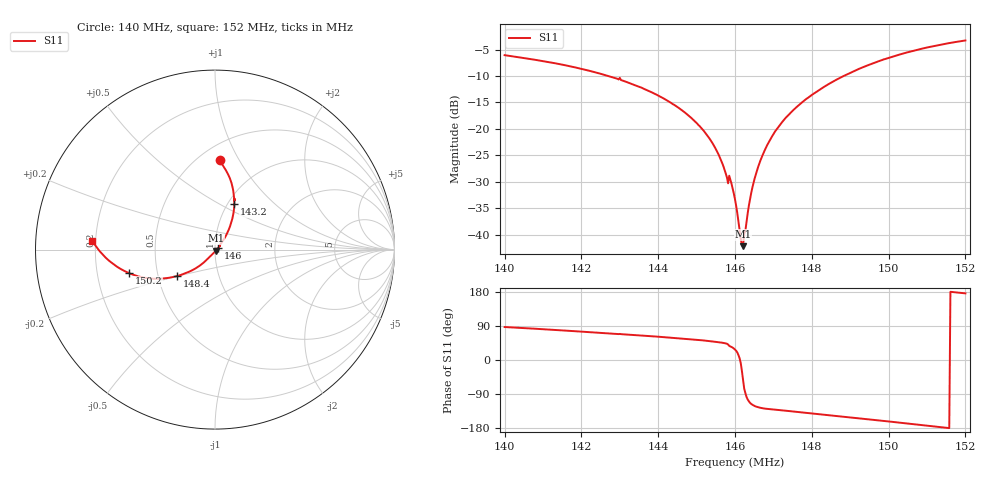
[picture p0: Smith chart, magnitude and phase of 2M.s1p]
!File created by NanoVNA
# Hz S RI R 50
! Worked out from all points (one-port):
!   401 points, 140 MHz to 152 MHz, reference 50 ohm
!   lowest |S11| = -42.2 dB at 146.2 MHz (marker M1), VSWR 1.02, Z = 50.5 - j0.621 ohm
!   |S11| at or under -10 dB: 142.7 MHz to 148.8 MHz (6.146 MHz wide, 4.22 % of centre)
!   S11 on the Smith chart (normalised r, x): 140 MHz: 0.63, +0.83; 143.2 MHz: 1.07, +0.59; 146 MHz: 1.03, +0.02; 148.4 MHz: 0.63, -0.20; 150.2 MHz: 0.34, -0.12; 152 MHz: 0.19, +0.04
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1.4e8  0.0259 0.4966
1.415e8  0.0832 0.3958
1.43e8  0.1101 0.2828
1.4318e8  0.1076 0.2553
1.439e8  0.1005 0.1905
1.445e8  0.0859 0.1359
1.4501e8  0.0673 0.0903
1.454e8  0.0488 0.0562
1.4561e8  0.0367 0.0384
1.4576e8  0.0272 0.0261
1.4591e8  0.0249 0.017
1.46e8  0.0191 0.00999
1.4603e8  0.017 0.00772
1.4615e8  0.00904 -0.00131
1.4621e8  0.00472 -0.00615
1.4624e8  0.00251 -0.00987
1.4639e8  -0.00834 -0.0198
1.4645e8  -0.0129 -0.0243
1.4654e8  -0.0199 -0.031
1.4666e8  -0.0294 -0.0403
1.4684e8  -0.0442 -0.0547
1.4702e8  -0.0597 -0.0693
1.475e8  -0.1061 -0.1034
1.4837e8  -0.2097 -0.1467
1.49e8  -0.2974 -0.1615
1.5023e8  -0.4795 -0.1307
1.505e8  -0.5179 -0.112
1.52e8  -0.6832 0.0498
